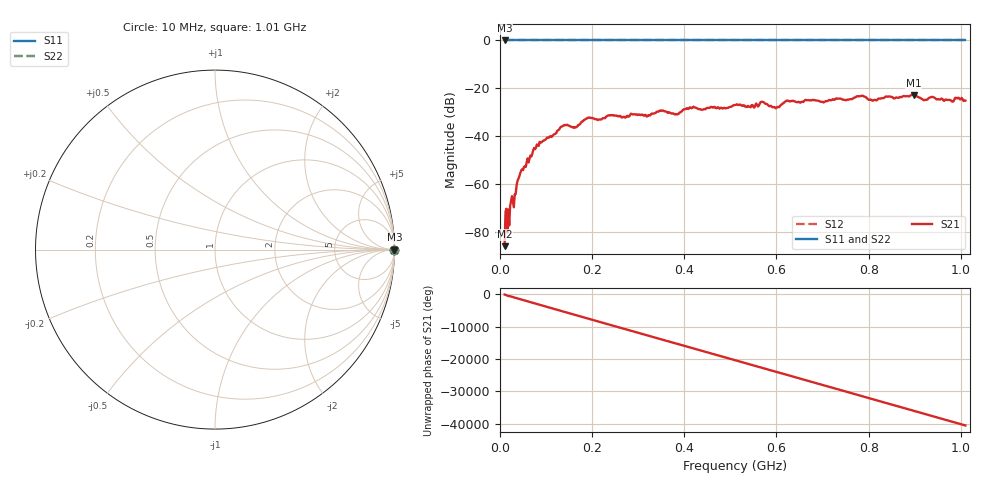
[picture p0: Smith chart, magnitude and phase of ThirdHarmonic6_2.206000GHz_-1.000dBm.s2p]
! 8/17/2025 2:17:25 AM
! C:\ANRITSUVNA\TEMP\TEMP.S2P
! CHANNEL.1
! TR.MEASUREMENT
! RAW.DATA
! RF.CORRECTION.OFF
! AVERAGING.OFF
! IF.BANDWIDTH: 5KHZ
! SWEEPTYPE:  FREQ.SWEEP(Linear)
! Reference Plane Port Info
! PORT:  PORT1  PORT2
! DISTANCE:  0  m  0  m
! TIME:  0  s  0  s
! PHASE.OFFSET:  0  deg.  0  deg.
! LOSS:  0  dB  0  dB
! REF.LOSS:  0  dB  0  dB
! REF.FREQ:  0  Hz  0  Hz
! Power Info
! POWER:  -20  dBm  -20  dBm
! EFF.POWER:  -20  dBm  -20  dBm
! SOURCE.ATTEN:  0  dB  0  dB
! TEST.ATTEN:  0  dB  0  dB
# GHZ S RI R 50.0
! FREQ.GHZ  S11RE  S11IM  S21RE  S21IM  S12RE  S12IM  S22RE  S22IM
!; PortSelection: Port_12
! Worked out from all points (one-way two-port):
!   501 points, 10 MHz to 1.01 GHz, reference 50 ohm
!   highest |S21| = -22.69 dB at 898 MHz (marker M1); lowest = -85.8 dB at 10 MHz (marker M2)
!   lowest |S11| = 0.0 dB at 10 MHz (marker M3)
!   |S11| at or under -10 dB: nowhere
!   |S22| runs from 0.0 to 0.0 dB; largest |S21 - S12| = 1.1
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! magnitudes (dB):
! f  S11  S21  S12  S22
! 10 MHz  0.0  -85.8  0.0  0.0
! 20 MHz  0.0  -77.1  0.0  0.0
! 22 MHz  0.0  -69.0  0.0  0.0
! 32 MHz  0.0  -64.1  0.0  0.0
! 44 MHz  0.0  -55.3  0.0  0.0
! 76 MHz  0.0  -45.3  0.0  0.0
! 136 MHz  0.0  -35.6  0.0  0.0
! 164 MHz  0.0  -36.3  0.0  0.0
! 178 MHz  0.0  -33.8  0.0  0.0
! 344 MHz  0.0  -29.7  0.0  0.0
! 382 MHz  0.0  -30.7  0.0  0.0
! 416 MHz  0.0  -28.3  0.0  0.0
! 510 MHz  0.0  -26.9  0.0  0.0
! 548 MHz  0.0  -26.9  0.0  0.0
! 570 MHz  0.0  -25.6  0.0  0.0
! 602 MHz  0.0  -27.7  0.0  0.0
! 622 MHz  0.0  -25.1  0.0  0.0
! 678 MHz  0.0  -24.8  0.0  0.0
! 844 MHz  0.0  -23.3  0.0  0.0
! 898 MHz  0.0  -22.7  0.0  0.0
! 922 MHz  0.0  -24.8  0.0  0.0
! 1.01 GHz  0.0  -25.1  0.0  0.0
